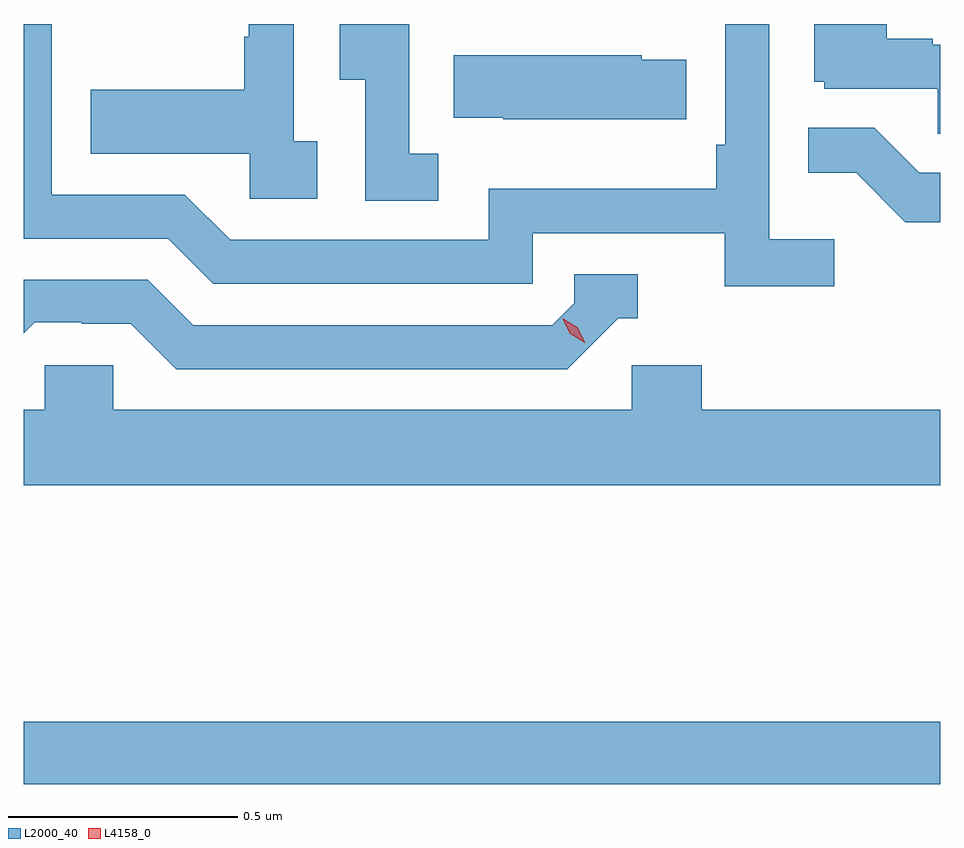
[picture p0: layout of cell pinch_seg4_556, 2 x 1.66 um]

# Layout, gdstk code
import gdstk
lib = gdstk.Library(unit=1e-6, precision=1e-09)
def R(c, l, rs):  # rectangles x0, y0, x1, y1
    for r in rs: c.add(gdstk.rectangle(r[:2], r[2:], *l))
def P(c, l, *ps):  # polygons
    for p in ps: c.add(gdstk.Polygon(p, *l))
L2000_40 = (2000, 40)
L4158_0 = (4158, 0)

pinch_seg4_556 = lib.new_cell('pinch_seg4_556')
R(pinch_seg4_556, L2000_40, [(1117.553,780.184,1119.553,780.32)])
P(pinch_seg4_556, L2000_40, [(1119.322,781.372),(1119.18,781.372),(1119.18,781.842),(1119.084,781.842),(1119.084,781.579),(1119.064,781.579),(1119.064,781.483),(1118.568,781.483),(1118.568,781.371),(1118.004,781.371),(1117.905,781.47),(1117.614,781.47),(1117.614,781.842),(1117.553,781.842),(1117.553,781.374),(1117.868,781.374),(1117.967,781.275),(1118.664,781.275),(1118.664,781.386),(1119.083,781.386),(1119.083,781.27),(1119.322,781.27)],
  [(1118.458,781.559),(1118.394,781.559),(1118.394,781.842),(1118.243,781.842),(1118.243,781.72),(1118.298,781.72),(1118.298,781.456),(1118.458,781.456)],
  [(1118.194,781.586),(1118.142,781.586),(1118.142,781.842),(1118.044,781.842),(1118.044,781.814),(1118.034,781.814),(1118.034,781.699),(1117.699,781.699),(1117.699,781.559),(1118.046,781.559),(1118.046,781.461),(1118.194,781.461)],
  [(1119.553,781.797),(1119.536,781.797),(1119.536,781.81),(1119.436,781.81),(1119.436,781.842),(1119.278,781.842),(1119.278,781.716),(1119.3,781.716),(1119.3,781.701),(1119.547,781.701),(1119.547,781.603),(1119.553,781.603)],
  [(1118.999,781.764),(1118.901,781.764),(1118.901,781.774),(1118.491,781.774),(1118.491,781.637),(1118.599,781.637),(1118.599,781.634),(1118.999,781.634)],
  [(1119.553,781.518),(1119.507,781.518),(1119.409,781.616),(1119.265,781.616),(1119.265,781.517),(1119.369,781.517),(1119.476,781.41),(1119.553,781.41)],
  [(1118.85,781.2),(1118.893,781.2),(1118.893,781.296),(1118.754,781.296),(1118.754,781.233),(1118.706,781.185),(1117.923,781.185),(1117.824,781.284),(1117.553,781.284),(1117.553,781.167),(1117.577,781.191),(1117.68,781.191),(1117.68,781.188),(1117.787,781.188),(1117.886,781.089),(1118.739,781.089)],
  [(1119.553,781),(1119.032,781),(1119.032,781.098),(1118.88,781.098),(1118.88,781),(1117.749,781),(1117.749,781.098),(1117.599,781.098),(1117.599,781),(1117.553,781),(1117.553,780.836),(1119.553,780.836)])
P(pinch_seg4_556, L4158_0, [(1118.777,781.147),(1118.746,781.166),(1118.729,781.198),(1118.729,781.199),(1118.73,781.199),(1118.761,781.18),(1118.778,781.147),(1118.778,781.147)])

lib.write_gds('pinch_seg4_556.gds')
